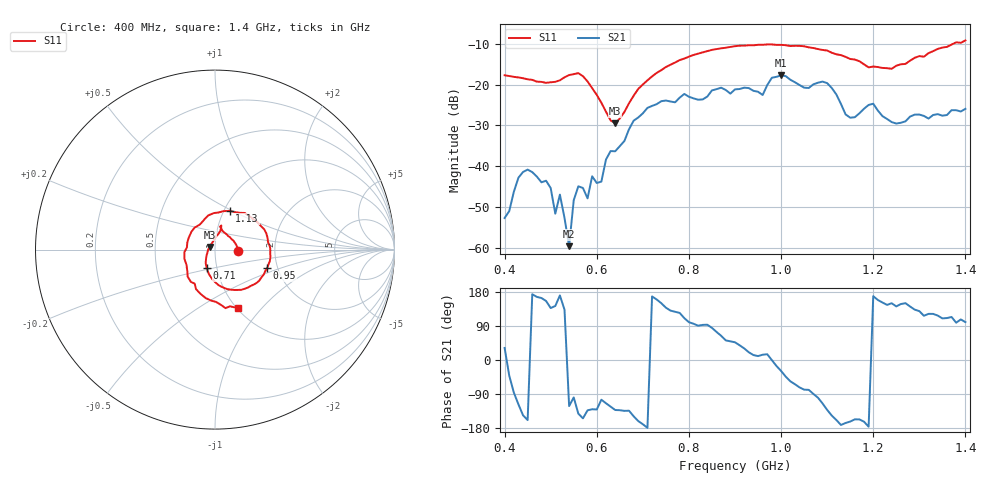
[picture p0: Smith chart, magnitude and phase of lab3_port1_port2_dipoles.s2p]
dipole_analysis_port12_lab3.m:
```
%%%%%%%%%%%%%%%%%%%%%%%%%%%%%%%%%%%%%%%%%%%%%%%%%%%%%%%%%%%%%%%%%%%%%%%%%%%
%             2-Port Dipole Antenna Measurements
%                 Plotting and Analysis Script
%%%%%%%%%%%%%%%%%%%%%%%%%%%%%%%%%%%%%%%%%%%%%%%%%%%%%%%%%%%%%%%%%%%%%%%%%%%
clear; clc; close all;

%% 1) Load the Two-Port S-Parameter File
% Update the filename to your actual .s2p file from CST or measurements
filename = 'lab3_port1_port2_dipoles.s2p';
disp(['Loading S-parameter file: ', filename]);

% Requires RF Toolbox in MATLAB
sData = sparameters(filename);

% Extract frequency array (Hz)
freq_Hz = sData.Frequencies;

% Extract the complex S-parameters
S11 = squeeze(sData.Parameters(1,1,:));
S21 = squeeze(sData.Parameters(2,1,:));
S12 = squeeze(sData.Parameters(1,2,:));
S22 = squeeze(sData.Parameters(2,2,:));

% Convert to dB
S11_dB = 20*log10(abs(S11));
S21_dB = 20*log10(abs(S21));
S12_dB = 20*log10(abs(S12));
S22_dB = 20*log10(abs(S22));

disp('Successfully extracted S11, S21, S12, and S22.');

%% 2) Basic Analysis / Print Key Data
% Find frequency points in GHz
freq_GHz = freq_Hz / 1e9;

% Locate minima for S11 and S22, maxima for S21 (etc.)
[~, idxS11min] = min(S11_dB);
[~, idxS22min] = min(S22_dB);
[~, idxS21max] = max(S21_dB);

f_resonance_S11 = freq_GHz(idxS11min);
f_resonance_S22 = freq_GHz(idxS22min);
f_maxCoupling_S21 = freq_GHz(idxS21max);

fprintf('\n=== Key Frequencies & Coupling ===\n');
fprintf('S11 min  at  %.3f GHz, S11(dB) = %.2f dB\n', ...
    f_resonance_S11, S11_dB(idxS11min));
fprintf('S22 min  at  %.3f GHz, S22(dB) = %.2f dB\n', ...
    f_resonance_S22, S22_dB(idxS22min));
fprintf('S21 max  at  %.3f GHz, S21(dB) = %.2f dB\n', ...
    f_maxCoupling_S21, S21_dB(idxS21max));

% You can also note if S21 and S12 differ (they should be the same in a 
% reciprocal, lossless scenario, but practical measurement setups might differ).
disp(' ');

%% 3) Plot S11
figure('Name','S11 vs Frequency');
plot(freq_GHz, S11_dB, 'LineWidth',1.5);
grid on;
xlabel('Frequency (GHz)');
ylabel('S_{11} (dB)');
title('Port 1 Reflection Coefficient (S_{11})');

%% 4) Plot S21
figure('Name','S21 vs Frequency');
plot(freq_GHz, S21_dB, 'LineWidth',1.5);
grid on;
xlabel('Frequency (GHz)');
ylabel('S_{21} (dB)');
title('Transmission from Port 1 to Port 2 (S_{21})');

%% 5) Plot S12
figure('Name','S12 vs Frequency');
plot(freq_GHz, S12_dB, 'LineWidth',1.5);
grid on;
xlabel('Frequency (GHz)');
ylabel('S_{12} (dB)');
title('Transmission from Port 2 to Port 1 (S_{12})');

%% 6) Plot S22
figure('Name','S22 vs Frequency');
plot(freq_GHz, S22_dB, 'LineWidth',1.5);
grid on;
xlabel('Frequency (GHz)');
ylabel('S_{22} (dB)');
title('Port 2 Reflection Coefficient (S_{22})');

%% 7) Friis Equation to Estimate Antenna Gain
%
% In a two-antenna setup at distance R, the Friis equation in dB form is:
%   S21_dB ~ 10*log10(G1 * G2) + 20*log10(lambda / (4*pi*R))   (neglecting other losses)
%
% If you assume the two antennas are identical (G1 = G2 = G), then:
%   S21_dB ~ 2*G_dBi + 20*log10(lambda / (4*pi*R))
%     => G_dBi = (S21_dB - 20*log10(lambda/(4*pi*R))) / 2
%
% We'll just pick the S21(dB) at the frequency of interest. Then solve for G.
% Adjust R for your measurement distance (meters).
% If you have multiple distances, repeat for each.

% User parameters (edit these as needed)
freq_target = 1e9;   % 1 GHz (or pick f_resonance_S11 or f_maxCoupling_S21)
R = 0.5;            % Example distance in meters
c0 = 3e8;           % Speed of light in vacuum [m/s]

% Compute the free-space wavelength at freq_target
lambda_m = c0 / freq_target;

% Find the index in your S21 array closest to freq_target
[~, idxFreq] = min(abs(freq_Hz - freq_target));
S21_dB_atFreq = S21_dB(idxFreq);

% Solve Friis for G (assuming G1 = G2 = G)
FS_term_dB = 20*log10(lambda_m/(4*pi*R));  % free-space path loss (dB)
G_est_dBi = (S21_dB_atFreq - FS_term_dB)/2;

fprintf('\n=== Friis Equation Estimate ===\n');
fprintf('At freq = %.3f GHz\n', freq_Hz(idxFreq)/1e9);
fprintf('Measured S21(dB) = %.2f dB\n', S21_dB_atFreq);
fprintf('Free-space path loss term = %.2f dB (R=%.2f m)\n', FS_term_dB, R);
fprintf('Estimated single-antenna gain (assuming identical antennas): %.2f dBi\n', G_est_dBi);

disp('Compare this to your full-wave simulation or datasheet to see differences.');
disp('Reasons for discrepancy: near-field coupling if R is small, cable losses, mismatch,');
disp('real environment multipath, or differences from ideal assumptions.');

%% 8) Brief Text Guidance for the Questions
disp(' ');
disp('=== INTERPRETATION (Short Answers) ===');
disp('1) S21 indicates how much power is transmitted from Port 1 to Port 2.');
disp('   - If the dipoles are aligned for maximum coupling, S21(dB) will be higher.');
disp('   - If they are cross-polarized or misaligned, S21(dB) will be lower.');
disp('2) Polarization alignment: For linear dipoles, aligning E-field planes maximizes transmission.');
disp('3) Antenna distance & alignment also affect S21; worst-case is broadside null or cross-pol misalignment.');
disp('4) The Friis equation lets you estimate gain from S21 at a known distance, but real-world effects');
disp('   (cable loss, mismatch, near-field, measurement errors) can cause deviations from simulated gain.');
disp('Done.');
```
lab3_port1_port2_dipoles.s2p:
# HZ S RI R 50
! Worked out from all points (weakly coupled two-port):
!   101 points, 400 MHz to 1.4 GHz, reference 50 ohm
!   highest |S21| = -17.72 dB at 1 GHz (marker M1); lowest = -59.6 dB at 540 MHz (marker M2)
!   lowest |S11| = -29.5 dB at 640 MHz (marker M3), VSWR 1.07, Z = 47 + j1.37 ohm
!   |S11| at or under -10 dB: start of sweep to 1.373 GHz
!   S12 and S22 are empty: the file has one direction only
!   S11 on the Smith chart (normalised r, x): 400 MHz: 1.30, -0.02; 710 MHz: 0.89, -0.19; 950 MHz: 1.76, -0.41; 1.13 GHz: 1.07, +0.48; 1.4 GHz: 1.01, -0.75
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4e8  0.1304 -0.0075  0.00196 0.00122  0 0  0 0
4.5e8  0.1093 0.0401  -0.00845 -0.00332  0 0  0 0
5.4e8  0.0281 0.1283  -0.000546 -0.000888  0 0  0 0
5.6e8  0.0351 0.1342  -0.00443 -0.00352  0 0  0 0
6.4e8  -0.0303 0.0145  -0.0102 -0.0113  0 0  0 0
7.1e8  -0.0457 -0.1035  -0.0519 -0.000964  0 0  0 0
9e8  0.2315 -0.1859  0.0601 0.0638  0 0  0 0
9.5e8  0.2905 -0.1044  0.0806 0.0147  0 0  0 0
1e9  0.3083 0.00341  0.1138 -0.0627  0 0  0 0
1.13e9  0.0823 0.2153  -0.0573 -0.00862  0 0  0 0
1.4e9  0.1264 -0.3256  -0.00877 0.0497  0 0  0 0
